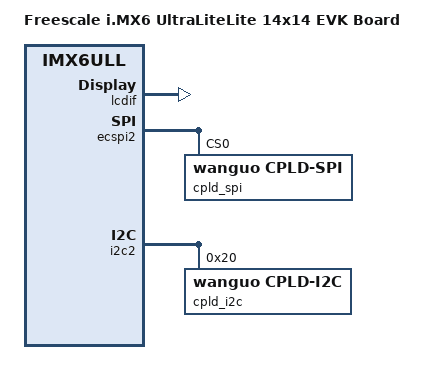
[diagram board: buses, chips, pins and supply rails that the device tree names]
// SPDX-License-Identifier: (GPL-2.0 OR MIT)
//
// Copyright (C) 2016 Freescale Semiconductor, Inc.

/dts-v1/;

#include "imx6ull.dtsi"
#include "imx6ul-14x14-evk.dtsi"

/ {
	model = "Freescale i.MX6 UltraLiteLite 14x14 EVK Board";
	compatible = "fsl,imx6ull-14x14-evk", "fsl,imx6ull";
};

&clks {
	assigned-clocks = <&clks IMX6UL_CLK_PLL3_PFD2>;
	assigned-clock-rates = <320000000>;
};

&lcdif {
    display = <&display0>;
    status = "okay";

    display0: display0 {
        bits-per-pixel = <16>;
        bus-width = <18>;

        display-timings {
            native-mode = <&timing0>;
            timing0: timing0 {
                clock-frequency = <28000000>;
                hactive = <800>;
                vactive = <480>;
                hfront-porch = <30>;
                hback-porch = <30>;
                hsync-len = <64>;
                vback-porch = <5>;
                vfront-porch = <5>;
                vsync-len = <20>;
                hsync-active = <0>;
                vsync-active = <0>;
                de-active = <1>;
                pixelclk-active = <0>;
            };
        };
    };
};

&ecspi2 {
    status = "okay";

    // 定义 CPLD I2C 设备
    cpld_spi: cpld@0 {
        compatible = "wanguo,cpld-spi";
        reg = <0>;
        status = "okay";
    };
};

&i2c2 {
    status = "okay";

    // 定义 CPLD I2C 设备
    cpld_i2c: cpld@20 {
        compatible = "wanguo,cpld-i2c";
        reg = <0x20>; // I2C 地址
        status = "okay";
    };
};
